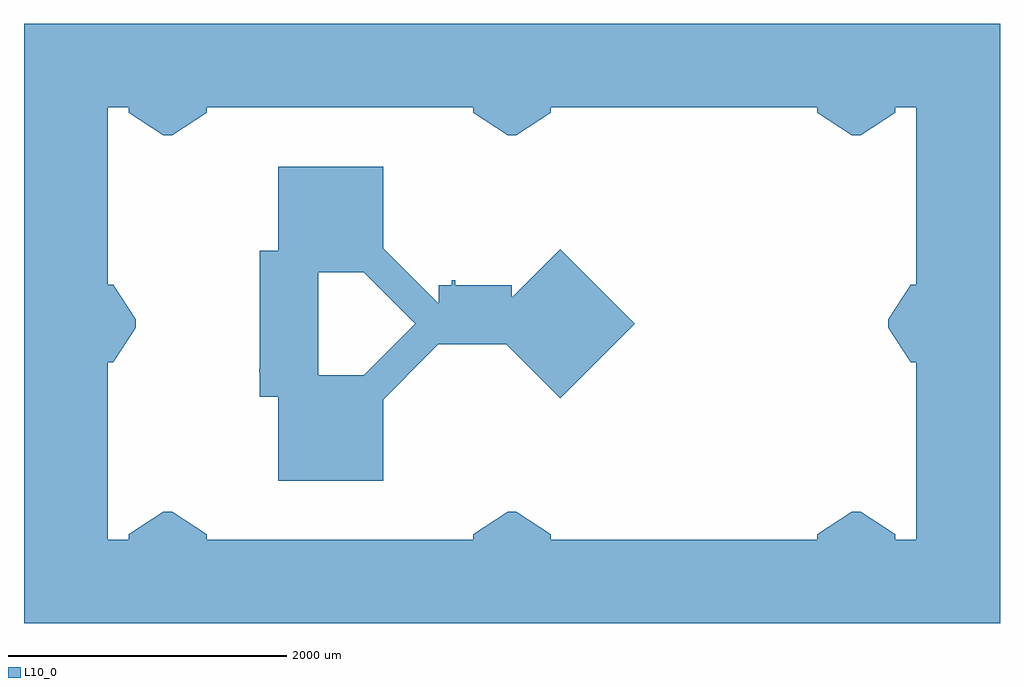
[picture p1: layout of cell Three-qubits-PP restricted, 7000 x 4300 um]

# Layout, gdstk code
import gdstk
lib = gdstk.Library(unit=1e-6, precision=1e-09)
def R(c, l, rs):  # rectangles x0, y0, x1, y1
    for r in rs: c.add(gdstk.rectangle(r[:2], r[2:], *l))
def P(c, l, *ps):  # polygons
    for p in ps: c.add(gdstk.Polygon(p, *l))
L10_0 = (10, 0)

three_qubits_pp_restrict = lib.new_cell('Three-qubits-PP restricted')
R(three_qubits_pp_restrict, L10_0, [(1822,1022,2578,1778), (1822,2518,2578,3274)])
P(three_qubits_pp_restrict, L10_0, [(7000,0),(7000,4300),(0,4300),(0,1871),(132,1871),(132,2429),(600,2429),(600,3700),(751,3700),(751,4168),(1309,4168),(1309,3700),(3221,3700),(3221,4168),(3779,4168),(3779,3700),(5691,3700),(5691,4168),(6249,4168),(6249,3700),(6400,3700),(6400,2429),(6868,2429),(6868,1871),(6400,1871),(6400,600),(6249,600),(6249,132),(5691,132),(5691,600),(3779,600),(3779,132),(3221,132),(3221,600),(1309,600),(1309,132),(751,132),(751,600),(600,600),(600,1871),(132,1871),(0,1871),(0,0)],
  [(800,2118),(800,2182),(640,2429),(132,2429),(132,1871),(640,1871)],
  [(6200,2182),(6200,2118),(6360,1871),(6868,1871),(6868,2429),(6360,2429)],
  [(1062,800),(998,800),(751,640),(751,132),(1309,132),(1309,640)],
  [(998,3500),(1062,3500),(1309,3660),(1309,4168),(751,4168),(751,3660)],
  [(3532,800),(3468,800),(3221,640),(3221,132),(3779,132),(3779,640)],
  [(3468,3500),(3532,3500),(3779,3660),(3779,4168),(3221,4168),(3221,3660)],
  [(6002,800),(5938,800),(5691,640),(5691,132),(6249,132),(6249,640)],
  [(5938,3500),(6002,3500),(6249,3660),(6249,4168),(5691,4168),(5691,3660)],
  [(3846,1613.427),(3311.427,2148),(3846,2682.573),(4380.573,2148)],
  [(1689.5,1824.5),(1688,1824.5),(1688,1799.5),(1689.5,1799.5),(1689.5,1625),(2110.5,1625),(2110.5,2671),(1689.5,2671)],
  [(3091.5,2423.5),(3091.5,2460),(3066.5,2460),(3066.5,2423.5),(2975,2423.5),(2975,2291.137),(2506.895,2759.242),(2351.332,2603.678),(2807.01,2148),(2351.332,1692.322),(2506.895,1536.758),(2975,2004.863),(2975,2002.5),(3498,2002.5),(3498,2423.5)])

lib.write_gds('Three-qubits-PP_restricted.gds')
